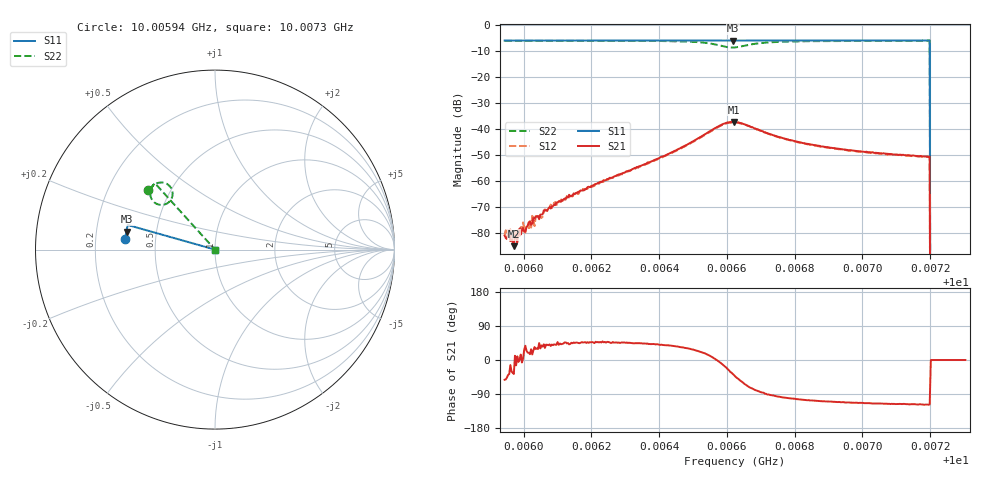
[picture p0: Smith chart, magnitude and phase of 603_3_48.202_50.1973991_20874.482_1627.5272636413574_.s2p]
#  HZ  S  RI  R  50.00
! Rohde & Schwarz Vector Network Analyzer
! Rohde-Schwarz,ZNB20-2Port,1311601062101988,3.16
! Created: UTC 3/20/2024, 12:03:06 PM
! freq[Hz]  re:S11  im:S11  re:S21  im:S21  re:S12  im:S12  re:S22  im:S22
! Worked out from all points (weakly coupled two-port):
!   401 points, 10.00594 GHz to 10.0073 GHz, reference 50 ohm
!   highest |S21| = -37.28 dB at 10.00662 GHz (marker M1); lowest = -85.1 dB at 10.00597 GHz (marker M2)
!   lowest |S11| = -6.0 dB at 10.00662 GHz (marker M3), VSWR 3.02, Z = 16.7 + j4.48 ohm
!   |S11| at or under -10 dB: 10.0072 GHz to end of sweep
!   |S22| runs from - to -6.0 dB; largest |S21 - S12| = 0.0012
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1.0005944e10  -0.4993 0.0573  5.51e-05 -7.09e-05  3.01e-05 -8.85e-05  -0.3708 0.3327
1.0005971e10  -0.499 0.0591  4.47e-05 -3.35e-05  6.89e-05 -5.82e-05  -0.3695 0.3344
1.0005991e10  -0.4989 0.0603  9.07e-05 2.31e-05  0.000127 2.39e-05  -0.3683 0.3356
1.0005998e10  -0.4988 0.0608  0.000124 6.73e-06  0.000159 1.52e-05  -0.3679 0.3361
1.0006008e10  -0.4988 0.0615  0.000118 5.42e-05  0.000105 7.88e-05  -0.3674 0.3369
1.0006032e10  -0.4986 0.0629  0.000158 0.000106  0.000113 7.62e-05  -0.3659 0.3382
1.0006036e10  -0.4985 0.0632  0.000181 0.0001  0.00017 0.000126  -0.3656 0.3386
1.0006049e10  -0.4986 0.0642  0.000195 0.000115  0.00018 0.00011  -0.3647 0.3395
1.0006087e10  -0.4983 0.0667  0.000256 0.000209  0.000241 0.000225  -0.3626 0.342
1.0006172e10  -0.4976 0.0722  0.000447 0.000478  0.000399 0.000476  -0.3563 0.348
1.0006399e10  -0.4957 0.087  0.00209 0.00178  0.00193 0.00189  -0.3284 0.368
1.0006539e10  -0.4937 0.0961  0.0079 0.00225  0.00758 0.00257  -0.2667 0.3651
1.0006587e10  -0.4927 0.0988  0.0121 -0.00237  0.0118 -0.0017  -0.2361 0.315
1.0006617e10  -0.4922 0.1001  0.0109 -0.00819  0.0112 -0.0074  -0.2571 0.2643
1.0006621e10  -0.4923 0.1001  0.0106 -0.00867  0.0108 -0.00792  -0.262 0.2603
1.0006624e10  -0.4923 0.1003  0.00991 -0.0092  0.0104 -0.00854  -0.2674 0.2568
1.0006699e10  -0.4925 0.1049  0.000875 -0.00939  0.00141 -0.00914  -0.3518 0.279
1.0006852e10  -0.4908 0.115  -0.00145 -0.00478  -0.0012 -0.00475  -0.3569 0.3347
1.000708e10  -0.4878 0.1296  -0.00143 -0.00298  -0.00126 -0.00299  -0.342 0.3616
1.0007192e10  -0.486 0.1367  -0.00137 -0.00263  -0.00125 -0.00262  -0.3354 0.3699
1.0007209e10  0 0  0 0  0 0  0 0
1.0007304e10  0 0  0 0  0 0  0 0
